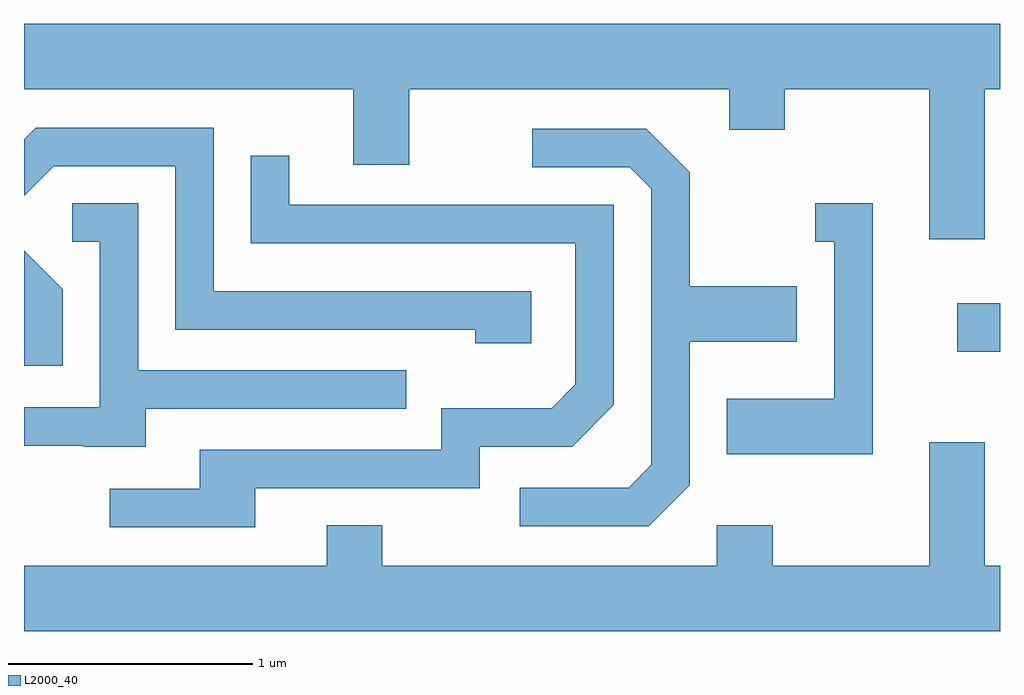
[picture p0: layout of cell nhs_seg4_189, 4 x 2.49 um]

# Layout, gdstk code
import gdstk
lib = gdstk.Library(unit=1e-6, precision=1e-09)
def R(c, l, rs):  # rectangles x0, y0, x1, y1
    for r in rs: c.add(gdstk.rectangle(r[:2], r[2:], *l))
def P(c, l, *ps):  # polygons
    for p in ps: c.add(gdstk.Polygon(p, *l))
L2000_40 = (2000, 40)

nhs_seg4_189 = lib.new_cell('nhs_seg4_189')
R(nhs_seg4_189, L2000_40, [(193.436,1362.481,193.611,1362.679)])
P(nhs_seg4_189, L2000_40, [(193.549,1363.556),(193.611,1363.556),(193.611,1363.824),(189.611,1363.824),(189.611,1363.556),(190.961,1363.556),(190.961,1363.246),(191.189,1363.246),(191.189,1363.556),(192.501,1363.556),(192.501,1363.391),(192.729,1363.391),(192.729,1363.556),(193.321,1363.556),(193.321,1362.941),(193.549,1362.941)],
  [(191.689,1362.729),(190.389,1362.729),(190.389,1363.399),(189.659,1363.399),(189.611,1363.351),(189.611,1363.12),(189.732,1363.241),(190.231,1363.241),(190.231,1362.571),(191.461,1362.571),(191.461,1362.516),(191.689,1362.516)],
  [(192.339,1361.934),(192.339,1362.521),(192.779,1362.521),(192.779,1362.749),(192.339,1362.749),(192.339,1363.217),(192.162,1363.394),(191.693,1363.394),(191.693,1363.236),(192.094,1363.236),(192.181,1363.149),(192.181,1362.017),(192.089,1361.924),(191.643,1361.924),(191.643,1361.766),(192.172,1361.766)],
  [(190.559,1361.921),(191.479,1361.921),(191.479,1362.091),(191.857,1362.091),(192.029,1362.264),(192.029,1363.084),(190.699,1363.084),(190.699,1363.283),(190.541,1363.283),(190.541,1362.926),(191.871,1362.926),(191.871,1362.347),(191.774,1362.249),(191.321,1362.249),(191.321,1362.079),(190.331,1362.079),(190.331,1361.919),(189.963,1361.919),(189.963,1361.761),(190.559,1361.761)],
  [(193.089,1363.089),(192.853,1363.089),(192.853,1362.931),(192.931,1362.931),(192.931,1362.289),(192.491,1362.289),(192.491,1362.061),(193.089,1362.061)],
  [(190.109,1362.246),(191.178,1362.246),(191.178,1362.404),(190.079,1362.404),(190.079,1363.089),(189.808,1363.089),(189.808,1362.931),(189.921,1362.931),(189.921,1362.254),(189.611,1362.254),(189.611,1362.096),(189.855,1362.096),(189.855,1362.091),(190.109,1362.091)],
  [(189.769,1362.737),(189.611,1362.895),(189.611,1362.423),(189.769,1362.423)],
  [(193.611,1361.604),(193.549,1361.604),(193.549,1362.109),(193.321,1362.109),(193.321,1361.604),(192.679,1361.604),(192.679,1361.769),(192.451,1361.769),(192.451,1361.604),(191.079,1361.604),(191.079,1361.769),(190.851,1361.769),(190.851,1361.604),(189.611,1361.604),(189.611,1361.336),(193.611,1361.336)])

lib.write_gds('nhs_seg4_189.gds')
